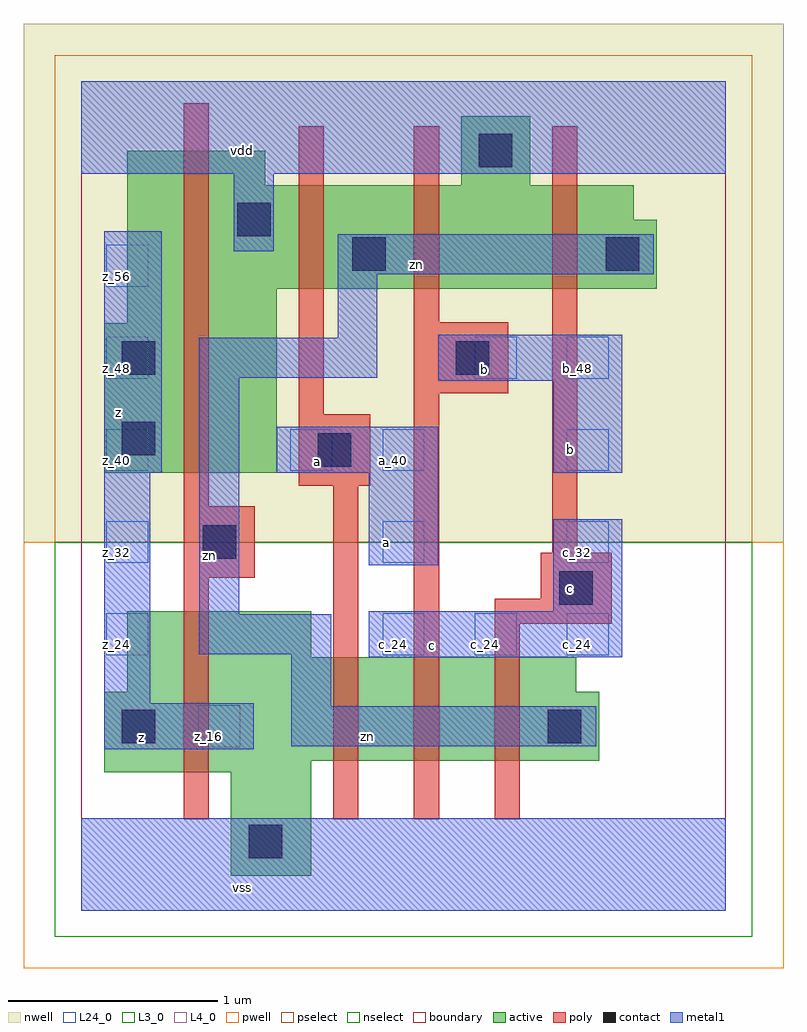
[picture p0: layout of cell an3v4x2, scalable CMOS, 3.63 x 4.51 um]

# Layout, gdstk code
import gdstk
lib = gdstk.Library(unit=1e-6, precision=2.5e-09)
def R(c, l, rs):  # rectangles x0, y0, x1, y1
    for r in rs: c.add(gdstk.rectangle(r[:2], r[2:], *l))
def A(c, l, x, y, w, h, nx, ny, dx, dy):  # array of equal rectangles
    R(c, l, [(x+i*dx, y+j*dy, x+i*dx+w, y+j*dy+h) for i in range(nx) for j in range(ny)])
L3_0 = (3, 0)
L4_0 = (4, 0)
L24_0 = (24, 0)
contact = (25, 0)
pwell = (41, 0)
nwell = (42, 0)
active = (43, 0)
pselect = (44, 0)
nselect = (45, 0)
poly = (46, 0)
metal1 = (49, 0)
boundary = (63, 0)

an3v4x2 = lib.new_cell('an3v4x2')
R(an3v4x2, L3_0, [(0.715,0.165,1.1,0.66), (0.11,0.66,1.1,0.715), (0.11,0.715,2.475,1.045), (0.22,1.045,2.365,1.21), (0.22,1.21,1.1,1.43)])
R(an3v4x2, L4_0, [(0.11,2.09,0.935,2.805), (0.22,2.805,0.935,2.97), (0.22,2.97,2.75,3.3), (0.22,3.3,2.64,3.465), (0.22,3.465,0.88,3.63), (1.815,3.465,2.145,3.795)])
A(an3v4x2, L24_0, 0.12, 1.22, 0.2, 0.2, 1, 5, 0, 0.44)
A(an3v4x2, L24_0, 1.44, 1.22, 0.2, 0.2, 3, 1, 0.44, 0)
A(an3v4x2, L24_0, 2.32, 1.66, 0.2, 0.2, 1, 3, 0, 0.44)
R(an3v4x2, L24_0, [(0.56,0.78,0.76,0.98), (1.44,1.66,1.64,1.86), (1,2.1,1.2,2.3), (1.44,2.1,1.64,2.3), (1.88,2.54,2.08,2.74)])
R(an3v4x2, contact, [(0.8,0.25,0.96,0.41), (0.195,0.8,0.355,0.96), (2.23,0.8,2.39,0.96), (2.285,1.46,2.445,1.62), (0.58,1.68,0.74,1.84), (1.13,2.12,1.29,2.28), (0.195,2.175,0.355,2.335), (0.195,2.56,0.355,2.72), (1.79,2.56,1.95,2.72), (1.295,3.055,1.455,3.215), (2.505,3.055,2.665,3.215), (0.745,3.22,0.905,3.38), (1.9,3.55,2.06,3.71)])
R(an3v4x2, pwell, [(-0.275,-0.275,3.355,1.76)])
R(an3v4x2, nwell, [(-0.275,1.76,3.355,4.235)])
R(an3v4x2, active, [(0.715,0.165,1.1,0.66), (0.11,0.66,1.1,0.715), (0.11,0.715,2.475,1.045), (0.22,1.045,2.365,1.21), (0.22,1.21,1.1,1.43), (0.11,2.09,0.935,2.805), (0.22,2.805,0.935,2.97), (0.22,2.97,2.75,3.3), (0.22,3.3,2.64,3.465), (0.22,3.465,0.88,3.63), (1.815,3.465,2.145,3.795)])
R(an3v4x2, pselect, [(-0.125,1.76,3.205,4.085)])
R(an3v4x2, nselect, [(-0.125,-0.125,3.205,1.76)])
R(an3v4x2, poly, [(0.49,0.435,0.61,1.59), (1.205,0.435,1.325,2.03), (1.59,0.435,1.71,2.47), (1.975,0.435,2.095,1.37), (1.975,1.37,2.535,1.49), (2.195,1.49,2.535,1.71), (0.49,1.59,0.83,1.93), (2.25,1.71,2.37,3.745), (0.49,1.93,0.61,3.855), (1.04,2.03,1.38,2.37), (1.04,2.37,1.16,3.745), (1.59,2.47,2.04,2.81), (1.59,2.81,1.71,3.745)])
R(an3v4x2, metal1, [(0,0,3.08,0.44), (0.11,0.77,0.825,0.99), (1.005,0.785,2.46,0.975), (1.005,0.975,1.195,1.225), (0.11,0.99,0.33,2.09), (1.375,1.21,2.585,1.43), (0.565,1.225,1.195,1.415), (0.565,1.415,0.755,2.545), (2.255,1.43,2.585,1.87), (1.375,1.65,1.705,2.09), (0.11,2.09,0.385,3.245), (0.935,2.09,1.705,2.31), (2.255,2.09,2.585,2.53), (1.705,2.53,2.585,2.75), (0.565,2.545,1.415,2.735), (1.225,2.735,1.415,3.04), (1.225,3.04,2.735,3.23), (0.73,3.15,0.92,3.52), (0,3.52,3.08,3.96)])
R(an3v4x2, boundary, [(0,0,3.08,3.96)])
an3v4x2.add(gdstk.Label('vss', (0.77,0.11), layer=49, texttype=0))
an3v4x2.add(gdstk.Label('zn', (1.3675,0.8325), layer=49, texttype=0))
an3v4x2.add(gdstk.Label('c', (1.6775,1.265), layer=49, texttype=0))
an3v4x2.add(gdstk.Label('z', (0.2875,0.825), layer=49, texttype=0))
an3v4x2.add(gdstk.Label('c', (2.3375,1.54), layer=49, texttype=0))
an3v4x2.add(gdstk.Label('a', (1.4575,1.76), layer=49, texttype=0))
an3v4x2.add(gdstk.Label('b', (2.3375,2.2), layer=49, texttype=0))
an3v4x2.add(gdstk.Label('a', (1.1275,2.145), layer=49, texttype=0))
an3v4x2.add(gdstk.Label('b', (1.925,2.585), layer=49, texttype=0))
an3v4x2.add(gdstk.Label('zn', (0.6125,1.6975), layer=49, texttype=0))
an3v4x2.add(gdstk.Label('zn', (1.6025,3.0875), layer=49, texttype=0))
an3v4x2.add(gdstk.Label('z', (0.1775,2.3775), layer=49, texttype=0))
an3v4x2.add(gdstk.Label('vdd', (0.77,3.63), layer=49, texttype=0))
an3v4x2.add(gdstk.Label('z_16', (0.61,0.83), layer=24, texttype=0))
an3v4x2.add(gdstk.Label('a_40', (1.05,2.15), layer=24, texttype=0))
an3v4x2.add(gdstk.Label('c_24', (1.49,1.27), layer=24, texttype=0))
an3v4x2.add(gdstk.Label('a_32', (1.49,1.71), layer=24, texttype=0))
an3v4x2.add(gdstk.Label('a_40', (1.49,2.15), layer=24, texttype=0))
an3v4x2.add(gdstk.Label('c_24', (1.93,1.27), layer=24, texttype=0))
an3v4x2.add(gdstk.Label('b_48', (1.93,2.59), layer=24, texttype=0))
an3v4x2.add(gdstk.Label('z_24', (0.17,1.27), layer=24, texttype=0))
an3v4x2.add(gdstk.Label('z_32', (0.17,1.71), layer=24, texttype=0))
an3v4x2.add(gdstk.Label('z_40', (0.17,2.15), layer=24, texttype=0))
an3v4x2.add(gdstk.Label('z_48', (0.17,2.59), layer=24, texttype=0))
an3v4x2.add(gdstk.Label('z_56', (0.17,3.03), layer=24, texttype=0))
an3v4x2.add(gdstk.Label('c_24', (2.37,1.27), layer=24, texttype=0))
an3v4x2.add(gdstk.Label('c_32', (2.37,1.71), layer=24, texttype=0))
an3v4x2.add(gdstk.Label('b_40', (2.37,2.15), layer=24, texttype=0))
an3v4x2.add(gdstk.Label('b_48', (2.37,2.59), layer=24, texttype=0))

lib.write_gds('an3v4x2.gds')
